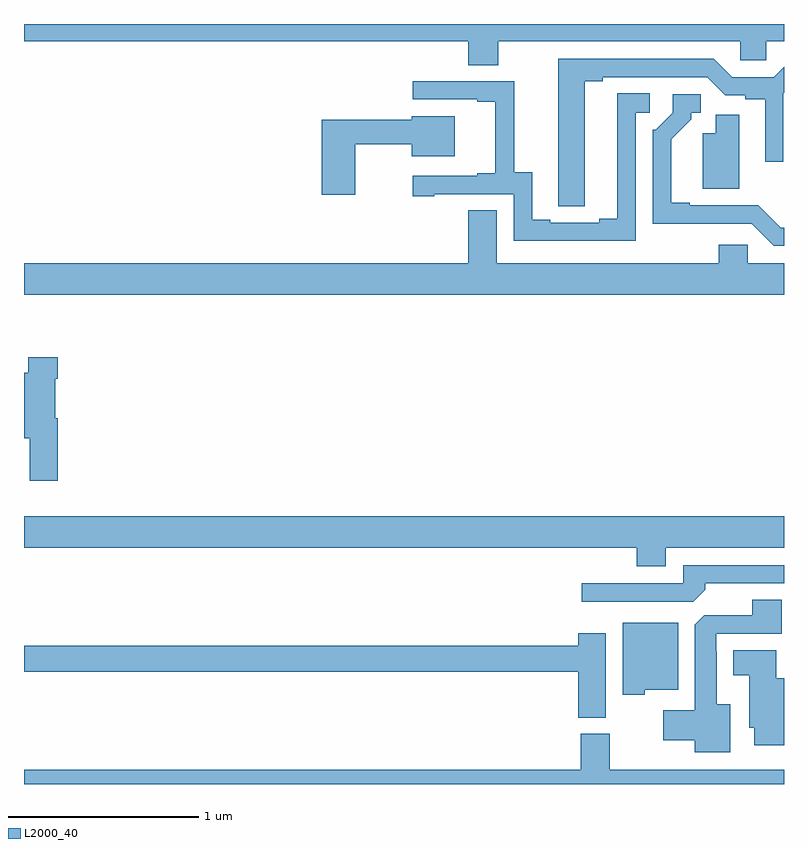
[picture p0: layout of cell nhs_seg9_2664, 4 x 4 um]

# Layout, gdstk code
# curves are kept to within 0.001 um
import gdstk
lib = gdstk.Library(unit=1e-6, precision=1e-09)
def P(c, l, *ps):  # polygons
    for p in ps: c.add(gdstk.Polygon(p, *l))
L2000_40 = (2000, 40)

nhs_seg9_2664 = lib.new_cell('nhs_seg9_2664')
P(nhs_seg9_2664, L2000_40, [(265.497,1208.408),(266.769,1208.408),(266.769,1208.31),(266.907,1208.31),(266.907,1208.408),(267,1208.408),(267,1208.5),(263,1208.5),(263,1208.408),(265.337,1208.408),(265.337,1208.284),(265.497,1208.284)],
  [(265.951,1208.2),(266.047,1208.2),(266.047,1208.22),(266.595,1208.22),(266.691,1208.124),(266.796,1208.124),(266.796,1208.104),(266.9,1208.104),(266.9,1207.776),(266.997,1207.776),(266.997,1208.136),(267,1208.139),(267,1208.275),(266.945,1208.22),(266.727,1208.22),(266.631,1208.316),(265.811,1208.316),(265.812,1207.54),(265.951,1207.54)],
  [(266.22,1208.034),(266.293,1208.034),(266.293,1208.135),(266.123,1208.135),(266.123,1207.475),(266.027,1207.475),(266.027,1207.455),(265.771,1207.455),(265.771,1207.47),(265.675,1207.47),(265.675,1207.721),(265.581,1207.721),(265.581,1208.199),(265.047,1208.199),(265.047,1208.103),(265.385,1208.103),(265.385,1208.091),(265.481,1208.091),(265.481,1207.714),(265.385,1207.714),(265.385,1207.701),(265.047,1207.701),(265.047,1207.593),(265.159,1207.593),(265.159,1207.605),(265.578,1207.605),(265.578,1207.359),(266.22,1207.359)],
  [(267,1207.428),(266.982,1207.428),(266.865,1207.545),(266.503,1207.545),(266.503,1207.558),(266.407,1207.558),(266.407,1207.894),(266.512,1207.999),(266.512,1208.034),(266.562,1208.034),(266.562,1208.13),(266.415,1208.13),(266.415,1208.034),(266.325,1207.944),(266.31,1207.944),(266.31,1207.448),(266.829,1207.449),(266.946,1207.332),(267,1207.332)],
  [(266.764,1208.022),(266.642,1208.022),(266.642,1207.924),(266.573,1207.924),(266.573,1207.634),(266.764,1207.634)],
  [(264.744,1207.867),(265.04,1207.867),(265.04,1207.805),(265.267,1207.805),(265.267,1208.014),(265.04,1208.014),(265.04,1207.996),(264.566,1207.996),(264.566,1207.602),(264.744,1207.602)],
  [(267,1207.24),(266.808,1207.24),(266.808,1207.338),(266.657,1207.338),(266.657,1207.24),(265.489,1207.24),(265.489,1207.52),(265.337,1207.52),(265.337,1207.24),(263,1207.24),(263,1207.076),(267,1207.076)],
  [(263.177,1206.424),(263.164,1206.424),(263.164,1206.632),(263.177,1206.632),(263.177,1206.745),(263.023,1206.745),(263.023,1206.664),(263,1206.664),(263,1206.32),(263.03,1206.32),(263.03,1206.096),(263.177,1206.096)],
  [(266.377,1205.744),(267,1205.744),(267,1205.908),(263,1205.908),(263,1205.744),(266.225,1205.744),(266.225,1205.645),(266.377,1205.645)],
  [(266.585,1205.522),(266.585,1205.556),(267,1205.556),(267,1205.652),(266.469,1205.652),(266.469,1205.556),(265.935,1205.556),(265.935,1205.46),(266.523,1205.46)],
  [(266.716,1204.921),(266.647,1204.921),(266.647,1205.195),(266.643,1205.195),(266.643,1205.292),(266.987,1205.292),(266.987,1205.471),(266.834,1205.471),(266.834,1205.388),(266.58,1205.388),(266.531,1205.339),(266.531,1204.888),(266.364,1204.888),(266.364,1204.73),(266.531,1204.73),(266.531,1204.667),(266.716,1204.667)],
  [(266.268,1204.997),(266.443,1204.997),(266.443,1205.35),(266.15,1205.35),(266.15,1204.97),(266.268,1204.97)],
  [(266.062,1205.293),(265.916,1205.293),(265.916,1205.228),(263,1205.228),(263,1205.092),(265.916,1205.092),(265.916,1204.849),(266.062,1204.849)],
  [(267,1205.056),(266.959,1205.056),(266.959,1205.203),(266.732,1205.203),(266.732,1205.072),(266.816,1205.072),(266.816,1204.797),(266.843,1204.797),(266.843,1204.704),(267,1204.704)],
  [(267,1204.576),(266.083,1204.576),(266.083,1204.764),(265.931,1204.764),(265.931,1204.576),(263,1204.576),(263,1204.5),(267,1204.5)])

lib.write_gds('nhs_seg9_2664.gds')
